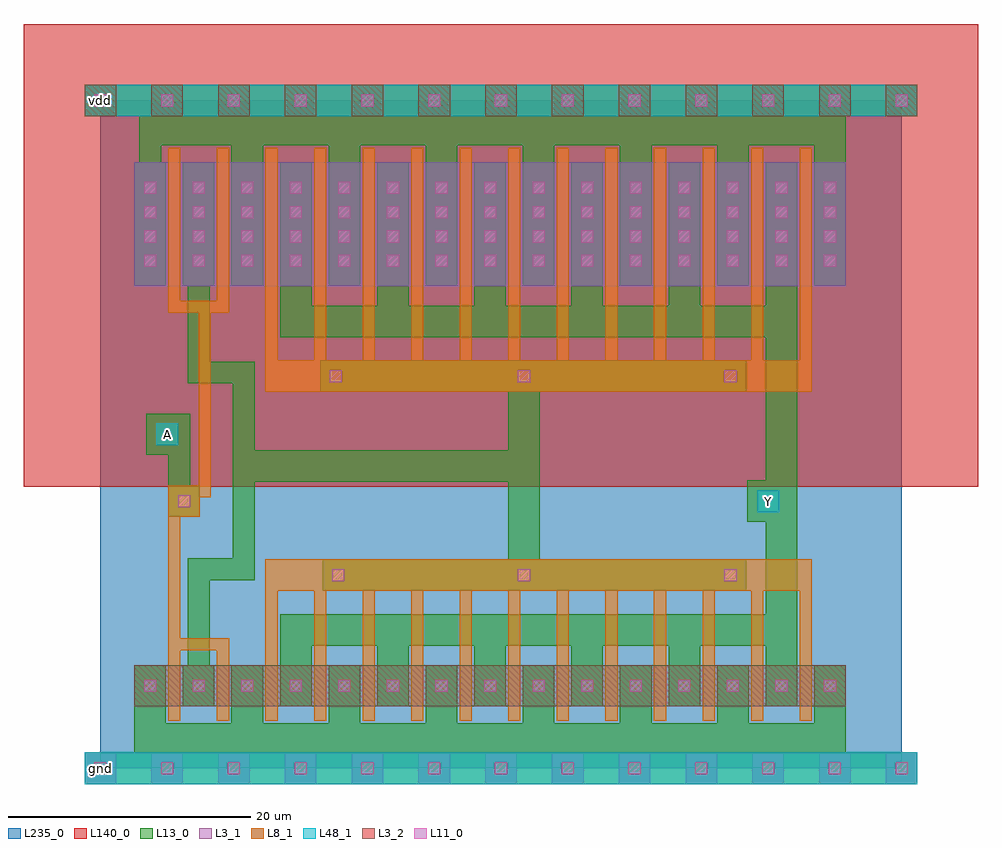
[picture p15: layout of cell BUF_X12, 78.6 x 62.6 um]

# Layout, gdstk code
import gdstk
lib = gdstk.Library(unit=1e-6, precision=1e-09)
def R(c, l, rs):  # rectangles x0, y0, x1, y1
    for r in rs: c.add(gdstk.rectangle(r[:2], r[2:], *l))
def A(c, l, x, y, w, h, nx, ny, dx, dy):  # array of equal rectangles
    R(c, l, [(x+i*dx, y+j*dy, x+i*dx+w, y+j*dy+h) for i in range(nx) for j in range(ny)])
def P(c, l, *ps):  # polygons
    for p in ps: c.add(gdstk.Polygon(p, *l))
L3_1 = (3, 1)
L3_2 = (3, 2)
L8_1 = (8, 1)
L11_0 = (11, 0)
L13_0 = (13, 0)
L48_1 = (48, 1)
L140_0 = (140, 0)
L235_0 = (235, 0)

buf_x12 = lib.new_cell('BUF_X12')
A(buf_x12, L3_1, -1.3, -1.3, 2.6, 2.6, 13, 1, 5.5, 0)
R(buf_x12, L3_1, [(2.8,39.7,61.4,49.9), (2.8,39.7,61.4,49.9)])
A(buf_x12, L3_2, -1.3, 53.7, 2.6, 2.6, 13, 1, 5.5, 0)
R(buf_x12, L3_2, [(2.8,5.1,61.4,8.5)])
P(buf_x12, L8_1, [(13.6,3.9),(13.6,17.2),(58.6,17.2),(58.6,3.9),(57.6,3.9),(57.6,14.6),(54.6,14.6),(54.6,3.9),(53.6,3.9),(53.6,14.6),(50.6,14.6),(50.6,3.9),(49.6,3.9),(49.6,14.6),(46.6,14.6),(46.6,3.9),(45.6,3.9),(45.6,14.6),(42.6,14.6),(42.6,3.9),(41.6,3.9),(41.6,14.6),(38.6,14.6),(38.6,3.9),(37.6,3.9),(37.6,14.6),(34.6,14.6),(34.6,3.9),(33.6,3.9),(33.6,14.6),(30.6,14.6),(30.6,3.9),(29.6,3.9),(29.6,14.6),(26.6,14.6),(26.6,3.9),(25.6,3.9),(25.6,14.6),(22.6,14.6),(22.6,3.9),(21.6,3.9),(21.6,14.6),(18.6,14.6),(18.6,3.9),(17.6,3.9),(17.6,14.6),(14.6,14.6),(14.6,3.9)],
  [(5.6,3.9),(5.6,23.3),(8.1,23.3),(8.1,37.5),(5.6,37.5),(5.6,51.1),(6.6,51.1),(6.6,38.5),(9.6,38.5),(9.6,51.1),(10.6,51.1),(10.6,37.5),(9.1,37.5),(9.1,22.3),(8.2,22.3),(8.2,20.7),(6.6,20.7),(6.6,10.7),(10.6,10.7),(10.6,3.9),(9.6,3.9),(9.6,9.7),(6.6,9.7),(6.6,3.9)],
  [(13.6,31),(13.6,51.1),(14.6,51.1),(14.6,33.6),(17.6,33.6),(17.6,51.1),(18.6,51.1),(18.6,33.6),(21.6,33.6),(21.6,51.1),(22.6,51.1),(22.6,33.6),(25.6,33.6),(25.6,51.1),(26.6,51.1),(26.6,33.6),(29.6,33.6),(29.6,51.1),(30.6,51.1),(30.6,33.6),(33.6,33.6),(33.6,51.1),(34.6,51.1),(34.6,33.6),(37.6,33.6),(37.6,51.1),(38.6,51.1),(38.6,33.6),(41.6,33.6),(41.6,51.1),(42.6,51.1),(42.6,33.6),(45.6,33.6),(45.6,51.1),(46.6,51.1),(46.6,33.6),(49.6,33.6),(49.6,51.1),(50.6,51.1),(50.6,33.6),(53.6,33.6),(53.6,51.1),(54.6,51.1),(54.6,33.6),(57.6,33.6),(57.6,51.1),(58.6,51.1),(58.6,31)])
A(buf_x12, L11_0, -0.5, -0.5, 1, 1, 13, 2, 5.5, 55)
A(buf_x12, L11_0, 3.6, 6.3, 1, 1, 3, 2, 4, 35)
A(buf_x12, L11_0, 11.6, 6.3, 1, 1, 13, 2, 4, 35)
A(buf_x12, L11_0, 3.6, 43.3, 1, 1, 3, 3, 4, 2)
A(buf_x12, L11_0, 11.6, 43.3, 1, 1, 13, 3, 4, 2)
R(buf_x12, L11_0, [(19.1,15.4,20.1,16.4), (34.4,15.4,35.4,16.4), (51.4,15.4,52.4,16.4), (6.4,21.5,7.4,22.5), (18.9,31.8,19.9,32.8), (34.4,31.8,35.4,32.8), (51.4,31.8,52.4,32.8)])
P(buf_x12, L13_0, [(-1.3,-1.3),(-1.3,1.3),(2.8,1.3),(2.8,8.5),(5.4,8.5),(5.4,3.7),(10.8,3.7),(10.8,8.5),(13.4,8.5),(13.4,3.7),(18.8,3.7),(18.8,8.5),(21.4,8.5),(21.4,3.7),(26.8,3.7),(26.8,8.5),(29.4,8.5),(29.4,3.7),(34.8,3.7),(34.8,8.5),(37.4,8.5),(37.4,3.7),(42.8,3.7),(42.8,8.5),(45.4,8.5),(45.4,3.7),(50.8,3.7),(50.8,8.5),(53.4,8.5),(53.4,3.7),(58.8,3.7),(58.8,8.5),(61.4,8.5),(61.4,1.3),(67.3,1.3),(67.3,-1.3)],
  [(5.6,20.7),(5.6,25.8),(3.8,25.8),(3.8,29.2),(7.4,29.2),(7.4,23.3),(8.2,23.3),(8.2,20.7)],
  [(6.8,5.1),(6.8,8.5),(7.2,8.5),(7.2,17.3),(10.9,17.3),(10.9,31.7),(7.2,31.7),(7.2,39.7),(6.8,39.7),(6.8,49.9),(9.4,49.9),(9.4,39.7),(9,39.7),(9,33.5),(12.7,33.5),(12.7,26.2),(33.6,26.2),(33.6,31),(18.1,31),(18.1,33.6),(53.2,33.6),(53.2,31),(36.2,31),(36.2,17.2),(53.2,17.2),(53.2,14.6),(18.3,14.6),(18.3,17.2),(33.6,17.2),(33.6,23.6),(12.7,23.6),(12.7,15.5),(9,15.5),(9,8.5),(9.4,8.5),(9.4,5.1)],
  [(14.8,5.1),(14.8,12.7),(54.8,12.7),(54.8,20.3),(53.3,20.3),(53.3,23.7),(54.8,23.7),(54.8,35.5),(14.8,35.5),(14.8,49.9),(17.4,49.9),(17.4,38.1),(22.8,38.1),(22.8,49.9),(25.4,49.9),(25.4,38.1),(30.8,38.1),(30.8,49.9),(33.4,49.9),(33.4,38.1),(38.8,38.1),(38.8,49.9),(41.4,49.9),(41.4,38.1),(46.8,38.1),(46.8,49.9),(49.4,49.9),(49.4,38.1),(54.8,38.1),(54.8,49.9),(57.4,49.9),(57.4,5.1),(54.8,5.1),(54.8,10.1),(49.4,10.1),(49.4,5.1),(46.8,5.1),(46.8,10.1),(41.4,10.1),(41.4,5.1),(38.8,5.1),(38.8,10.1),(33.4,10.1),(33.4,5.1),(30.8,5.1),(30.8,10.1),(25.4,10.1),(25.4,5.1),(22.8,5.1),(22.8,10.1),(17.4,10.1),(17.4,5.1)],
  [(2.8,39.7),(2.8,49.9),(3.2,49.9),(3.2,53.7),(-1.3,53.7),(-1.3,56.3),(67.3,56.3),(67.3,53.7),(61.4,53.7),(61.4,39.7),(58.8,39.7),(58.8,51.3),(53.4,51.3),(53.4,39.7),(50.8,39.7),(50.8,51.3),(45.4,51.3),(45.4,39.7),(42.8,39.7),(42.8,51.3),(37.4,51.3),(37.4,39.7),(34.8,39.7),(34.8,51.3),(29.4,51.3),(29.4,39.7),(26.8,39.7),(26.8,51.3),(21.4,51.3),(21.4,39.7),(18.8,39.7),(18.8,51.3),(13.4,51.3),(13.4,39.7),(10.8,39.7),(10.8,51.3),(5,51.3),(5,49.9),(5.4,49.9),(5.4,39.7)])
R(buf_x12, L48_1, [(-1.3,-1.3,67.3,1.3), (54.1,21.1,55.9,22.9), (4.6,26.6,6.4,28.4), (4.6,26.6,6.4,28.4), (-1.3,53.7,67.3,56.3)])
R(buf_x12, L140_0, [(-6.3,23.2,72.3,61.3)])
R(buf_x12, L235_0, [(0,0,66,55)])
buf_x12.add(gdstk.Label('vdd', (0,55), layer=48, texttype=0))
buf_x12.add(gdstk.Label('gnd', (0,0), layer=48, texttype=0))
buf_x12.add(gdstk.Label('Y', (55,22), layer=48, texttype=0))
buf_x12.add(gdstk.Label('A', (5.5,27.5), layer=48, texttype=0))
buf_x12.add(gdstk.Label('A', (5.5,27.5), layer=48, texttype=0))

lib.write_gds('BUF_X12.gds')
